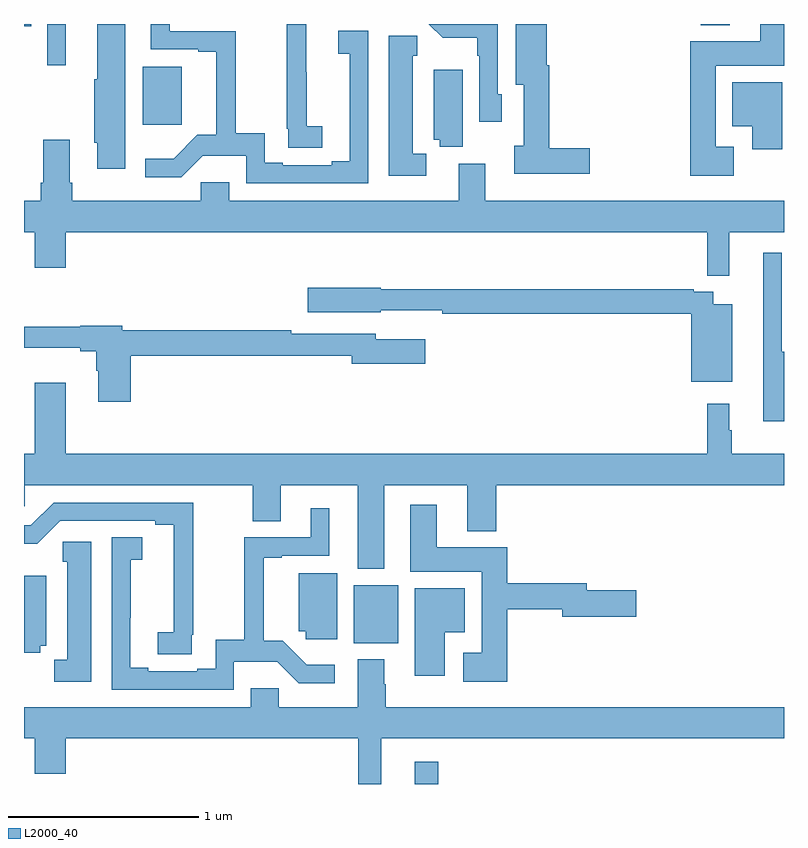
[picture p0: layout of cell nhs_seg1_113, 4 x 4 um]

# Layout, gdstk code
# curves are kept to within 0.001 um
import gdstk
lib = gdstk.Library(unit=1e-6, precision=1e-09)
def R(c, l, rs):  # rectangles x0, y0, x1, y1
    for r in rs: c.add(gdstk.rectangle(r[:2], r[2:], *l))
def P(c, l, *ps):  # polygons
    for p in ps: c.add(gdstk.Polygon(p, *l))
L2000_40 = (2000, 40)

nhs_seg1_113 = lib.new_cell('nhs_seg1_113')
R(nhs_seg1_113, L2000_40, [(119.057,510.199,119.179,510.316), (118.736,510.941,118.969,511.246), (117.626,513.668,117.829,513.973), (117.123,513.981,117.22,514.199), (117,514.186,117.038,514.199), (120.563,514.193,120.715,514.199)])
P(nhs_seg1_113, L2000_40, [(119.514,513.828),(119.493,513.828),(119.493,514.199),(119.131,514.199),(119.203,514.127),(119.385,514.127),(119.385,514.031),(119.397,514.031),(119.397,513.684),(119.514,513.684)],
  [(120.736,513.553),(120.64,513.553),(120.64,513.98),(121,513.98),(121,514.199),(120.875,514.199),(120.875,514.108),(120.506,514.108),(120.506,513.401),(120.736,513.401)],
  [(119.977,513.545),(119.765,513.545),(119.765,513.982),(119.752,513.982),(119.752,514.199),(119.588,514.199),(119.588,513.878),(119.63,513.878),(119.63,513.558),(119.58,513.558),(119.58,513.41),(119.977,513.41)],
  [(117.532,514.199),(117.386,514.199),(117.386,513.909),(117.371,513.909),(117.371,513.573),(117.386,513.573),(117.386,513.438),(117.532,513.438)],
  [(118.812,514.163),(118.653,514.163),(118.653,514.043),(118.714,514.043),(118.715,513.476),(118.619,513.476),(118.619,513.456),(118.363,513.456),(118.363,513.47),(118.266,513.47),(118.266,513.623),(118.115,513.623),(118.115,514.161),(117.766,514.161),(117.766,514.199),(117.668,514.199),(117.668,514.065),(117.917,514.065),(117.917,514.053),(118.013,514.053),(118.013,513.616),(117.913,513.616),(117.787,513.49),(117.639,513.49),(117.639,513.393),(117.828,513.393),(117.941,513.506),(118.17,513.506),(118.17,513.36),(118.812,513.36)],
  [(118.57,513.662),(118.488,513.662),(118.488,513.945),(118.486,513.945),(118.486,514.199),(118.384,514.199),(118.384,513.649),(118.39,513.649),(118.39,513.547),(118.57,513.547)],
  [(119.116,513.516),(119.047,513.516),(119.047,514.032),(119.069,514.032),(119.069,514.138),(118.919,514.138),(118.919,513.401),(119.116,513.401)],
  [(119.308,513.958),(119.156,513.958),(119.156,513.59),(119.188,513.59),(119.188,513.553),(119.308,513.553)],
  [(120.991,513.892),(120.728,513.892),(120.728,513.662),(120.833,513.662),(120.833,513.54),(120.991,513.54)],
  [(120.713,513.104),(121,513.104),(121,513.268),(119.428,513.268),(119.428,513.463),(119.288,513.463),(119.288,513.268),(118.081,513.268),(118.081,513.366),(117.93,513.366),(117.93,513.268),(117.254,513.268),(117.254,513.364),(117.241,513.364),(117.241,513.589),(117.101,513.589),(117.101,513.364),(117.089,513.364),(117.089,513.268),(117,513.268),(117,513.104),(117.056,513.104),(117.056,512.916),(117.22,512.916),(117.22,513.104),(120.595,513.104),(120.595,512.875),(120.713,512.875)],
  [(121,512.473),(120.987,512.473),(120.987,512.995),(120.89,512.995),(120.89,512.108),(121,512.108)],
  [(120.727,512.725),(120.628,512.725),(120.628,512.79),(120.524,512.79),(120.524,512.803),(118.878,512.803),(118.878,512.811),(118.494,512.811),(118.494,512.681),(118.878,512.681),(118.878,512.693),(119.2,512.693),(119.2,512.674),(120.512,512.674),(120.512,512.315),(120.727,512.315)],
  [(117.563,512.452),(118.724,512.452),(118.724,512.41),(119.113,512.41),(119.113,512.539),(118.852,512.539),(118.852,512.568),(118.406,512.568),(118.406,512.588),(117.516,512.588),(117.516,512.612),(117.296,512.612),(117.296,512.605),(117,512.605),(117,512.495),(117.296,512.495),(117.296,512.476),(117.38,512.476),(117.38,512.375),(117.392,512.375),(117.392,512.211),(117.563,512.211)],
  [(118.897,511.772),(119.333,511.772),(119.333,511.529),(119.486,511.529),(119.486,511.772),(121,511.772),(121,511.936),(120.724,511.936),(120.724,512.06),(120.712,512.06),(120.712,512.2),(120.595,512.2),(120.595,511.936),(117.22,511.936),(117.22,512.311),(117.056,512.311),(117.056,511.936),(117,511.936),(117,511.662),(117.003,511.662),(117.003,511.772),(118.204,511.772),(118.204,511.582),(118.351,511.582),(118.351,511.772),(118.757,511.772),(118.757,511.331),(118.897,511.331)],
  [(117.884,510.985),(117.89,510.985),(117.89,511.68),(117.156,511.68),(117.036,511.56),(117,511.56),(117,511.463),(117.071,511.463),(117.192,511.584),(117.692,511.584),(117.692,511.564),(117.788,511.564),(117.787,510.998),(117.705,510.998),(117.705,510.883),(117.884,510.883)],
  [(119.543,511.12),(119.834,511.12),(119.834,511.078),(120.223,511.078),(120.223,511.22),(119.962,511.22),(119.962,511.256),(119.543,511.256),(119.543,511.444),(119.173,511.444),(119.173,511.669),(119.033,511.669),(119.033,511.316),(119.408,511.316),(119.408,510.889),(119.313,510.889),(119.313,510.737),(119.543,510.737)],
  [(118.104,510.842),(118.333,510.842),(118.446,510.729),(118.636,510.729),(118.636,510.826),(118.487,510.826),(118.361,510.952),(118.262,510.952),(118.262,511.389),(118.357,511.389),(118.357,511.401),(118.606,511.401),(118.606,511.651),(118.508,511.651),(118.508,511.497),(118.159,511.497),(118.159,510.959),(118.008,510.959),(118.008,510.806),(117.911,510.806),(117.911,510.792),(117.655,510.792),(117.655,510.812),(117.559,510.812),(117.559,511.075),(117.561,511.075),(117.561,511.379),(117.622,511.379),(117.622,511.499),(117.462,511.499),(117.462,510.696),(118.104,510.696)],
  [(117.355,511.474),(117.205,511.474),(117.205,511.368),(117.227,511.368),(117.227,510.852),(117.159,510.852),(117.159,510.737),(117.355,510.737)],
  [(118.648,511.309),(118.445,511.309),(118.445,511.004),(118.482,511.004),(118.482,510.962),(118.648,510.962)],
  [(117.086,510.926),(117.118,510.926),(117.118,511.294),(117,511.294),(117,510.889),(117.086,510.889)],
  [(119.215,510.998),(119.32,510.998),(119.32,511.228),(119.057,511.228),(119.057,510.768),(119.215,510.768)],
  [(118.879,510.44),(121,510.44),(121,510.604),(118.905,510.604),(118.905,510.725),(118.897,510.725),(118.897,510.856),(118.757,510.856),(118.757,510.604),(118.34,510.604),(118.34,510.702),(118.193,510.702),(118.193,510.604),(117,510.604),(117,510.44),(117.056,510.44),(117.056,510.252),(117.22,510.252),(117.22,510.44),(118.758,510.44),(118.758,510.199),(118.879,510.199)])

lib.write_gds('nhs_seg1_113.gds')
